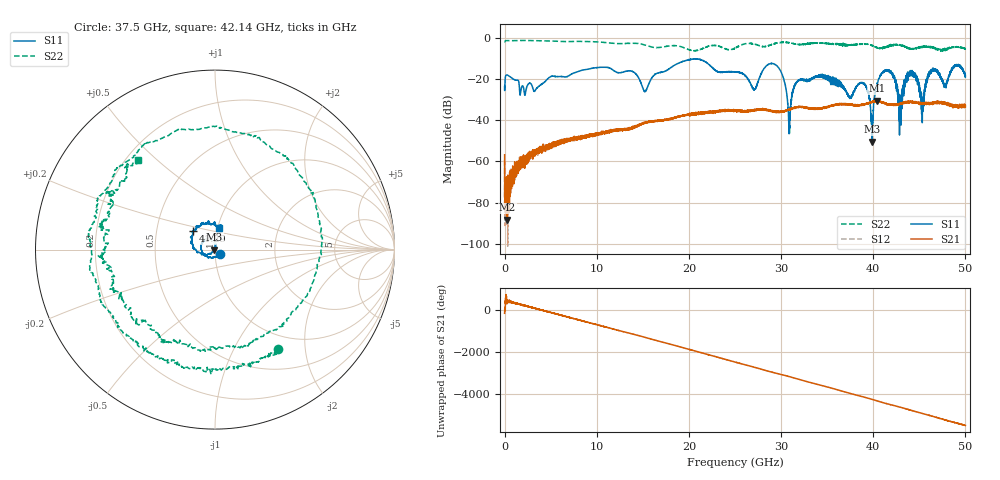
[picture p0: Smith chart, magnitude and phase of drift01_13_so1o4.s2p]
!Created with skrf (http://scikit-rf.org).
# Hz S RI R 50.0
!freq ReS11 ImS11 ReS21 ImS21 ReS12 ImS12 ReS22 ImS22
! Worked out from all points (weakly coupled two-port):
!   10001 points, 300 kHz to 50 GHz, reference 50 ohm
!   highest |S21| = -30.55 dB at 40.38 GHz (marker M1); lowest = -88.4 dB at 295.3 MHz (marker M2)
!   lowest |S11| = -50.5 dB at 39.87 GHz (marker M3), VSWR 1.01, Z = 49.7 + j0.0255 ohm
!   |S11| at or under -10 dB: start of sweep to end of sweep
!   |S22| runs from -6.6 to -1.4 dB; largest |S21 - S12| = 0.0042
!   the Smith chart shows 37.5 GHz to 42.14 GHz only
!   S11 on the Smith chart (normalised r, x): 37.5 GHz: 1.06, -0.05; 41.29 GHz: 0.77, +0.16; 42.14 GHz: 1.01, +0.25
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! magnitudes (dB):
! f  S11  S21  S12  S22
! 300 kHz  -23.7  -56.8  -59.4  -2.1
! 295.3 MHz  -18.1  -88.4  -76.3  -1.4
! 2.875 GHz  -22.5  -56.5  -55.2  -1.4
! 8.335 GHz  -15.9  -48.2  -48.0  -1.8
! 16.67 GHz  -17.0  -40.4  -40.5  -4.8
! 25 GHz  -16.7  -35.5  -35.4  -5.1
! 27.11 GHz  -25.1  -35.5  -35.1  -3.1
! 29.41 GHz  -13.2  -35.9  -35.8  -2.8
! 30.9 GHz  -45.1  -35.0  -34.7  -2.5
! 33.34 GHz  -19.8  -34.5  -34.3  -2.7
! 37.5 GHz  -28.8  -32.5  -32.5  -3.7
! 38.95 GHz  -22.2  -32.5  -32.4  -3.1
! 39.87 GHz  -50.5  -31.1  -31.3  -3.8
! 40.38 GHz  -22.9  -30.5  -30.9  -4.8
! 41.29 GHz  -16.0  -31.6  -31.8  -4.6
! 41.67 GHz  -16.3  -32.3  -32.3  -4.1
! 42.14 GHz  -18.3  -32.7  -32.6  -3.7
! 42.92 GHz  -35.9  -32.3  -32.1  -3.6
! 44.07 GHz  -18.5  -31.3  -30.9  -5.3
! 45.3 GHz  -34.1  -31.7  -32.1  -4.5
! 46.45 GHz  -15.4  -32.5  -31.5  -4.7
! 50 GHz  -18.3  -33.6  -32.9  -5.4
